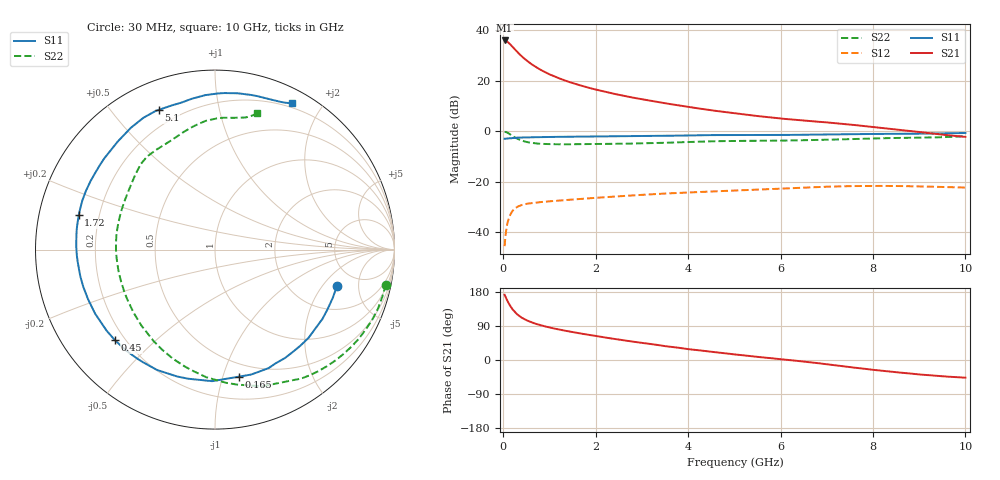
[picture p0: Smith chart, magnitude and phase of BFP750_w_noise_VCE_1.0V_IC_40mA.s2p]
! Infineon Technologies  Discrete & RF Semiconductors
! BFP750
! VCE =  1.0 V,  IC =  40 mA
! Common Emitter S-Parameters:  Jan 2016
# GHz  S  MA  R  50
!  f  S11  S21  S12  S22
! GHz  MAG  ANG  MAG  ANG  MAG  ANG  MAG  ANG
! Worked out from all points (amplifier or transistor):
!   229 points, 30 MHz to 10 GHz, reference 50 ohm
!   highest |S21| = 35.9 dB at 30 MHz (marker M1)
!   |S21| within 3 dB of that: start of sweep to 225.7 MHz
!   unconditionally stable (mu >= 1): 4.01 GHz to end of sweep
!   at 280 MHz: K = 0.15, MSG = 31.0 dB, |S12| = -30.3 dB
!   at 1.78 GHz: K = 0.67, MSG = 22.1 dB, |S12| = -26.7 dB
!   at 10 GHz: K = 1.11, MAG = 8.0 dB, |S12| = -22.3 dB
!   lowest NFmin = 0.94 dB at 450 MHz
!   S11 on the Smith chart (normalised r, x): 30 MHz: 3.42, -2.82; 165 MHz: 0.39, -1.13; 450 MHz: 0.16, -0.38; 1.72 GHz: 0.12, +0.12; 5.1 GHz: 0.13, +0.67; 10 GHz: 0.15, +1.64
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0.03  0.7085 -16.8  62.37 172.1  0.0053 81.1  0.9712 -11.6
0.05  0.7098 -27.9  61.93 166.1  0.0087 78.0  0.9658 -19.9
0.08  0.7164 -43.3  59.8 158.8  0.0134 70.6  0.943 -31.7
0.1  0.7164 -53.0  57.8 153.8  0.0162 66.1  0.9224 -39.1
0.13  0.7247 -65.7  54.57 147.1  0.0199 60.4  0.8888 -49.7
0.165  0.7203 -79.2  50.63 140.4  0.0233 54.4  0.8413 -60.4
0.2  0.7332 -91.2  46.8 133.9  0.0264 49.5  0.8062 -70.8
0.26  0.7377 -106.6  40.87 125.7  0.0299 42.5  0.7449 -85.2
0.3  0.7444 -115.6  37.31 120.7  0.0316 39.0  0.7128 -93.9
0.38  0.7469 -128.7  31.55 113.4  0.0341 33.5  0.6609 -107.8
0.45  0.752 -137.9  27.57 108.1  0.0356 30.2  0.6305 -117.9
0.6  0.7572 -151.8  21.52 99.8  0.0376 25.6  0.5892 -134.1
0.8  0.7626 -164.2  16.52 91.9  0.0394 22.4  0.5639 -149.0
1.2  0.7726 179.9  11.17 80.6  0.0423 19.6  0.5507 -167.7
1.7  0.7831 166.4  7.896 69.4  0.0458 18.2  0.5525 177.6
1.72  0.7833 165.9  7.804 69.0  0.0459 18.1  0.5526 177.1
2.4  0.7916 151.5  5.482 55.7  0.0507 16.0  0.5607 162.0
3.4  0.8064 133.7  3.702 38.6  0.0576 11.8  0.5853 144.6
5.1  0.8395 112.0  2.207 13.6  0.0674 3.3  0.6423 124.8
6.8  0.8567 95.6  1.541 -8.2  0.0782 -7.5  0.6705 106.9
8.4  0.8848 76.8  1.105 -30.9  0.0823 -22.3  0.731 89.2
10  0.9202 62.3  0.771 -46.7  0.0766 -33.0  0.7955 72.7
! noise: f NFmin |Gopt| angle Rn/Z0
0.45  0.94  0.16  -166  0.41
0.9  0.96  0.2  -161  0.2
1.5  0.98  0.29  -157  0.08
1.9  0.99  0.31  -152  0.07
2.4  1  0.32  -145  0.08
3.5  1.23  0.35  -131  0.09
